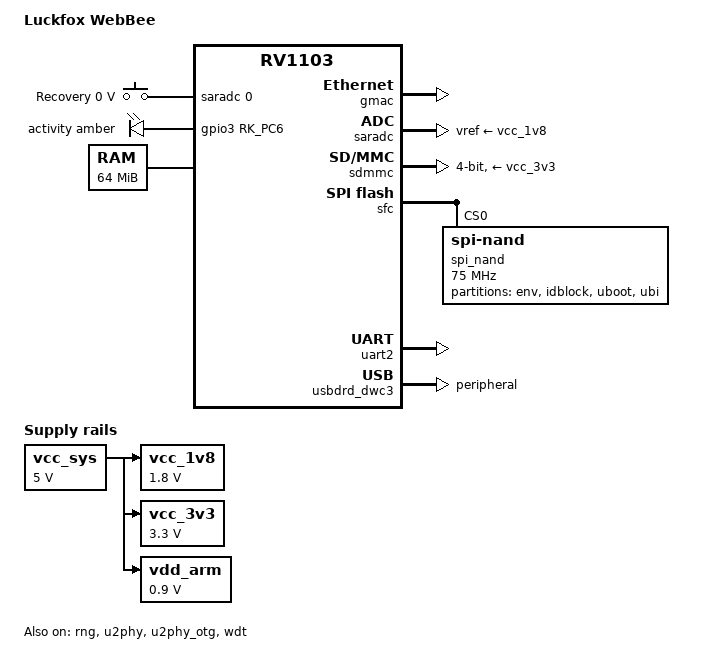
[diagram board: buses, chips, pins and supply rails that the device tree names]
// SPDX-License-Identifier: (GPL-2.0+ OR MIT)
/*
 * Copyright (c) 2023 Luckfox Electronics Co., Ltd
 */

/dts-v1/;

#include <dt-bindings/input/linux-event-codes.h>
#include <dt-bindings/leds/common.h>
#include "rockchip/rv1103.dtsi"

/ {
	model = "Luckfox WebBee";
	compatible = "luckfox,webbee", "rockchip,rv1103";

	aliases {
		ethernet1 = &usbdrd_dwc3;
		led-boot = &activity;
		led-failsafe = &activity;
		led-running = &activity;
		led-upgrade = &activity;
		mmc0 = &sdmmc;
		serial2 = &uart2;
	};

	chosen {
		bootargs = "earlycon=uart8250,mmio32,0xff4c0000 console=ttyS2,115200n8";
		stdout-path = "serial2:115200n8";
	};

	keys {
		compatible = "adc-keys";
		io-channels = <&saradc 0>;
		io-channel-names = "buttons";
		poll-interval = <100>;
		keyup-threshold-microvolt = <1800000>;

		button-recovery {
			label = "Recovery";
			linux,code = <KEY_RESTART>;
			press-threshold-microvolt = <0>;
		};
	};

	leds {
		compatible = "gpio-leds";

		activity: led {
			color = <LED_COLOR_ID_AMBER>;
			function = LED_FUNCTION_ACTIVITY;
			gpios = <&gpio3 RK_PC6 GPIO_ACTIVE_HIGH>;
		};
	};

	memory@0 {
		device_type = "memory";
		reg = <0x00000000 0x04000000>;
	};

	vcc_1v8: regulator-vcc-1v8 {
		compatible = "regulator-fixed";
		regulator-name = "vcc_1v8";
		regulator-min-microvolt = <1800000>;
		regulator-max-microvolt = <1800000>;
		regulator-always-on;
		regulator-boot-on;
		vin-supply = <&vcc_sys>;
	};

	vcc_3v3: regulator-vcc-3v3 {
		compatible = "regulator-fixed";
		regulator-name = "vcc_3v3";
		regulator-min-microvolt = <3300000>;
		regulator-max-microvolt = <3300000>;
		regulator-always-on;
		regulator-boot-on;
		vin-supply = <&vcc_sys>;
	};

	vcc_sys: regulator-vcc-5v0 {
		compatible = "regulator-fixed";
		regulator-name = "vcc_5v0";
		regulator-min-microvolt = <5000000>;
		regulator-max-microvolt = <5000000>;
		regulator-always-on;
		regulator-boot-on;
	};

	vdd_arm: regulator-vdd-0v9 {
		compatible = "regulator-fixed";
		regulator-name = "vdd_0v9";
		regulator-min-microvolt = <900000>;
		regulator-max-microvolt = <900000>;
		regulator-always-on;
		regulator-boot-on;
		vin-supply = <&vcc_sys>;
	};
};

&cpu0 {
	cpu-supply = <&vdd_arm>;
};

&gmac {
	status = "okay";
};

&rng {
	status = "okay";
};

&saradc {
	status = "okay";

	vref-supply = <&vcc_1v8>;
};

&sdmmc {
	status = "okay";

	bus-width = <4>;
	cap-sd-highspeed;
	disable-wp;
	broken-cd;
	vmmc-supply = <&vcc_3v3>;
	pinctrl-names = "default";
	pinctrl-0 = <&sdmmc0_clk &sdmmc0_cmd &sdmmc0_det &sdmmc0_bus4>;
};

&sfc {
	status = "okay";

	pinctrl-names = "default";
	pinctrl-0 = <&fspi_pins &fspi_cs0>;

	spi_nand: flash@0 {
		compatible = "spi-nand";
		reg = <0>;
		spi-max-frequency = <75000000>;
		spi-rx-bus-width = <4>;
		spi-tx-bus-width = <1>;

		partitions {
			compatible = "fixed-partitions";
			#address-cells = <1>;
			#size-cells = <1>;

			partition@0 {
				label = "env";
				reg = <0x0000000 0x0040000>;

				nvmem-layout {
					compatible = "u-boot,env";
				};
			};

			partition@40000 {
				label = "idblock";
				reg = <0x0040000 0x0100000>;
				read-only;
			};

			partition@140000 {
				label = "uboot";
				reg = <0x0140000 0x0100000>;
				read-only;
			};

			partition@240000 {
				label = "ubi";
				reg = <0x0240000 0x7dc0000>;
			};
		};
	};
};

&u2phy {
	status = "okay";
};

&u2phy_otg {
	status = "okay";

	phy-supply = <&vcc_sys>;
};

&uart2 {
	status = "okay";

	pinctrl-names = "default";
	pinctrl-0 = <&uart2m1_xfer>;
};

&usbdrd_dwc3 {
	status = "okay";

	dr_mode = "peripheral";
	extcon = <&u2phy>;
};

&wdt {
	status = "okay";
};
